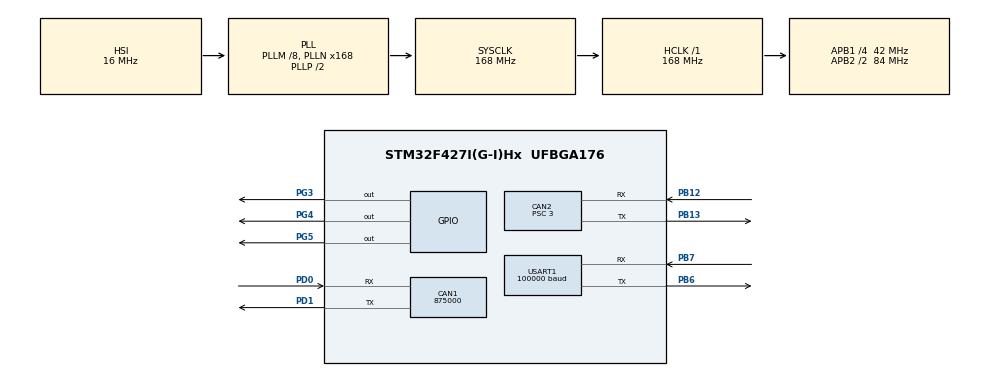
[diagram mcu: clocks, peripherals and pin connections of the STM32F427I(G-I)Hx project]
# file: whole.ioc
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CAN1.BS1=CAN_BS1_1TQ
CAN1.BS2=CAN_BS2_1TQ
CAN1.CalculateBaudRate=875000
CAN1.CalculateTimeBit=1142
CAN1.CalculateTimeQuantum=380.95238095238096
CAN2.BS1=CAN_BS1_10TQ
CAN2.BS2=CAN_BS2_3TQ
CAN2.CalculateBaudRate=1000000
CAN2.CalculateTimeBit=1000
CAN2.CalculateTimeQuantum=71.42857142857143
CAN2.Prescaler=3
Dma.Request0=USART1_RX
Dma.USART1_RX.0.Direction=DMA_PERIPH_TO_MEMORY
Dma.USART1_RX.0.FIFOMode=DMA_FIFOMODE_DISABLE
Dma.USART1_RX.0.Instance=DMA2_Stream2
Dma.USART1_RX.0.MemDataAlignment=DMA_MDATAALIGN_BYTE
Dma.USART1_RX.0.MemInc=DMA_MINC_ENABLE
Dma.USART1_RX.0.Mode=DMA_CIRCULAR
Dma.USART1_RX.0.PeriphDataAlignment=DMA_PDATAALIGN_BYTE
Dma.USART1_RX.0.PeriphInc=DMA_PINC_DISABLE
Dma.USART1_RX.0.Priority=DMA_PRIORITY_VERY_HIGH
Mcu.Family=STM32F4
Mcu.Name=STM32F427I(G-I)Hx
Mcu.Package=UFBGA176
NVIC.CAN2_RX0_IRQn=true\:0\:0\:false\:false\:true\:true\:true\:true
NVIC.CAN2_RX1_IRQn=true\:0\:0\:false\:false\:true\:true\:true\:true
NVIC.CAN2_SCE_IRQn=true\:0\:0\:false\:false\:true\:true\:true\:true
NVIC.CAN2_TX_IRQn=true\:0\:0\:false\:false\:true\:true\:true\:true
NVIC.DMA2_Stream2_IRQn=true\:0\:0\:false\:false\:true\:false\:true\:true
NVIC.PriorityGroup=NVIC_PRIORITYGROUP_4
NVIC.USART1_IRQn=true\:0\:0\:false\:false\:true\:true\:true\:true
PA13.Mode=Serial_Wire
PA13.Signal=SYS_JTMS-SWDIO
PA14.Mode=Serial_Wire
PA14.Signal=SYS_JTCK-SWCLK
PB12.Mode=CAN_Activate
PB12.Signal=CAN2_RX
PB13.Mode=CAN_Activate
PB13.Signal=CAN2_TX
PB6.Mode=Asynchronous
PB6.Signal=USART1_TX
PB7.Mode=Asynchronous
PB7.Signal=USART1_RX
PD0.Mode=CAN_Activate
PD0.Signal=CAN1_RX
PD1.Mode=CAN_Activate
PD1.Signal=CAN1_TX
PG3.Signal=GPIO_Output
PG4.Signal=GPIO_Output
PG5.Signal=GPIO_Output
PH0/OSC_IN.Mode=HSE-External-Oscillator
PH0/OSC_IN.Signal=RCC_OSC_IN
PH1/OSC_OUT.Mode=HSE-External-Oscillator
PH1/OSC_OUT.Signal=RCC_OSC_OUT
ProjectManager.HeapSize=0x200
ProjectManager.StackSize=0x400
ProjectManager.TargetToolchain=CMake
RCC.48MHZClocksFreq_Value=84000000
RCC.AHBFreq_Value=168000000
RCC.APB1CLKDivider=RCC_HCLK_DIV4
RCC.APB1Freq_Value=42000000
RCC.APB1TimFreq_Value=84000000
RCC.APB2CLKDivider=RCC_HCLK_DIV2
RCC.APB2Freq_Value=84000000
RCC.APB2TimFreq_Value=168000000
RCC.CortexFreq_Value=168000000
RCC.HCLKFreq_Value=168000000
RCC.HSE_VALUE=12000000
RCC.HSI_VALUE=16000000
RCC.LSE_VALUE=32768
RCC.PLLM=8
RCC.PLLN=168
RCC.SYSCLKFreq_VALUE=168000000
RCC.SYSCLKSource=RCC_SYSCLKSOURCE_PLLCLK
RCC.VCOOutputFreq_Value=336000000
USART1.BaudRate=100000
USART1.Parity=PARITY_EVEN
USART1.VirtualMode=VM_ASYNC
board=custom

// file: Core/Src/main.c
/* USER CODE BEGIN Header */
/**
  ******************************************************************************
  * @file           : main.c
  * @brief          : Main program body
  ******************************************************************************
  * @attention
  *
  * Copyright (c) 2025 STMicroelectronics.
  * All rights reserved.
  *
  * This software is licensed under terms that can be found in the LICENSE file
  * in the root directory of this software component.
  * If no LICENSE file comes with this software, it is provided AS-IS.
  *
  ******************************************************************************
  */
/* USER CODE END Header */
#include "main.h"
#include "can.h"
#include "dma.h"
#include "usart.h"
#include "gpio.h"

/* USER CODE BEGIN Includes */

#include "CAN_receive.h"
#include "pid.h"
#include"bsp_can.h"
#include<stdio.h>
#include"bsp_uart.h"
/* USER CODE END Includes */

/* USER CODE BEGIN PM */
extern rc_info_t rc;
char buf[200];
/* USER CODE END PM */

/* USER CODE BEGIN PV */
int16_t motor1out;
int16_t motor2out;
int16_t motor3out;
int16_t motor4out;
uint16_t motor1_speed_rpm;
uint16_t motor2_speed_rpm;
uint16_t motor3_speed_rpm;
uint16_t motor4_speed_rpm;
int16_t targety_speed_rpm;
int16_t targetx_speed_rpm;
int16_t targetw_speed_rpm;
int16_t target1_speed_rpm;
int16_t target2_speed_rpm;
int16_t target3_speed_rpm;
int16_t target4_speed_rpm;
/* USER CODE END PV */

void SystemClock_Config(void);

int main(void)
{

  /* MCU Configuration--------------------------------------------------------*/

  /* Reset of all peripherals, Initializes the Flash interface and the Systick. */
  HAL_Init();

  /* USER CODE BEGIN Init */
  //dbus_uart_init();//DBUS遥控器启动模块
  pid_struct_t motor_pid;
  pid_init(&motor_pid, 40.0f, 0.15f, 1.00f, 5000.0f, 300.0f);  // pitch PID
  HAL_CAN_ActivateNotification(&hcan2, CAN_IT_RX_FIFO0_MSG_PENDING);
  /* USER CODE END Init */

  /* Configure the system clock */
  SystemClock_Config();

  /* Initialize all configured peripherals */
  MX_GPIO_Init();
  MX_DMA_Init();
  MX_CAN2_Init();
  MX_CAN1_Init();
  MX_USART1_UART_Init();
  /* USER CODE BEGIN 2 */
  can_filter_init();//滤波器初始化
  dbus_uart_init();
  /* USER CODE END 2 */

  /* Infinite loop */
  while (1)
  {

    /* USER CODE BEGIN 3 */
    HAL_Delay(1);
    const motor_measure_t *motor1=get_chassis_motor_measure_point(0);
    motor1_speed_rpm=motor1->speed_rpm;
    motor1_speed_rpm/=19;
    const motor_measure_t *motor2=get_chassis_motor_measure_point(1);
    motor2_speed_rpm=motor2->speed_rpm;
    motor2_speed_rpm/=19;
    const motor_measure_t *motor3=get_chassis_motor_measure_point(2);
    motor3_speed_rpm=motor3->speed_rpm;
    motor3_speed_rpm/=19;
    const motor_measure_t *motor4=get_chassis_motor_measure_point(3);
    motor4_speed_rpm=motor4->speed_rpm;
    motor4_speed_rpm/=19;
    //获取当前速度
    targetx_speed_rpm=rc.ch3;
    targety_speed_rpm=rc.ch4;
    targetw_speed_rpm=(rc.sw1-2)*200;
    //遥控器数据获取
    target1_speed_rpm=-targetx_speed_rpm-targety_speed_rpm+targetw_speed_rpm;
    target2_speed_rpm=+targetx_speed_rpm-targety_speed_rpm+targetw_speed_rpm;
    target3_speed_rpm=+targetx_speed_rpm+targety_speed_rpm+targetw_speed_rpm;
    target4_speed_rpm=-targetx_speed_rpm+targety_speed_rpm+targetw_speed_rpm;
    //四个麦轮计算
    motor1out=(int16_t)pid_calc(&motor_pid,target1_speed_rpm,motor1_speed_rpm);
    motor2out=(int16_t)pid_calc(&motor_pid,target2_speed_rpm,motor2_speed_rpm);
    motor3out=(int16_t)pid_calc(&motor_pid,target3_speed_rpm,motor3_speed_rpm);
    motor4out=(int16_t)pid_calc(&motor_pid,target4_speed_rpm,motor4_speed_rpm);
    //PID计算（使用的pid.c经过改造可以实现处理角度环绕）
    CAN_cmd_chassis(motor1out,motor2out,motor3out,motor4out);
    //CAN_cmd_chassis(300,300,300,300);//测试用
    HAL_Delay(1);
    HAL_GPIO_WritePin(GPIOG,GPIO_PIN_3,GPIO_PIN_SET);
    HAL_GPIO_WritePin(GPIOG,GPIO_PIN_4,GPIO_PIN_SET);
    HAL_GPIO_WritePin(GPIOG,GPIO_PIN_5,GPIO_PIN_SET);
    //LED为测试CAN协议用
  }
  /* USER CODE END 3 */
}

void SystemClock_Config(void)
{
  RCC_OscInitTypeDef RCC_OscInitStruct = {0};
  RCC_ClkInitTypeDef RCC_ClkInitStruct = {0};

  /** Configure the main internal regulator output voltage
  */
  __HAL_RCC_PWR_CLK_ENABLE();
  __HAL_PWR_VOLTAGESCALING_CONFIG(PWR_REGULATOR_VOLTAGE_SCALE1);

  /** Initializes the RCC Oscillators according to the specified parameters
  * in the RCC_OscInitTypeDef structure.
  */
  RCC_OscInitStruct.OscillatorType = RCC_OSCILLATORTYPE_HSI;
  RCC_OscInitStruct.HSIState = RCC_HSI_ON;
  RCC_OscInitStruct.HSICalibrationValue = RCC_HSICALIBRATION_DEFAULT;
  RCC_OscInitStruct.PLL.PLLState = RCC_PLL_ON;
  RCC_OscInitStruct.PLL.PLLSource = RCC_PLLSOURCE_HSI;
  RCC_OscInitStruct.PLL.PLLM = 8;
  RCC_OscInitStruct.PLL.PLLN = 168;
  RCC_OscInitStruct.PLL.PLLP = RCC_PLLP_DIV2;
  RCC_OscInitStruct.PLL.PLLQ = 4;
  if (HAL_RCC_OscConfig(&RCC_OscInitStruct) != HAL_OK)
  {
    Error_Handler();
  }

  /** Initializes the CPU, AHB and APB buses clocks
  */
  RCC_ClkInitStruct.ClockType = RCC_CLOCKTYPE_HCLK|RCC_CLOCKTYPE_SYSCLK
                              |RCC_CLOCKTYPE_PCLK1|RCC_CLOCKTYPE_PCLK2;
  RCC_ClkInitStruct.SYSCLKSource = RCC_SYSCLKSOURCE_PLLCLK;
  RCC_ClkInitStruct.AHBCLKDivider = RCC_SYSCLK_DIV1;
  RCC_ClkInitStruct.APB1CLKDivider = RCC_HCLK_DIV4;
  RCC_ClkInitStruct.APB2CLKDivider = RCC_HCLK_DIV2;

  if (HAL_RCC_ClockConfig(&RCC_ClkInitStruct, FLASH_LATENCY_5) != HAL_OK)
  {
    Error_Handler();
  }
}

void Error_Handler(void)
{
  __disable_irq();
  while (1)
  {
  }
}
